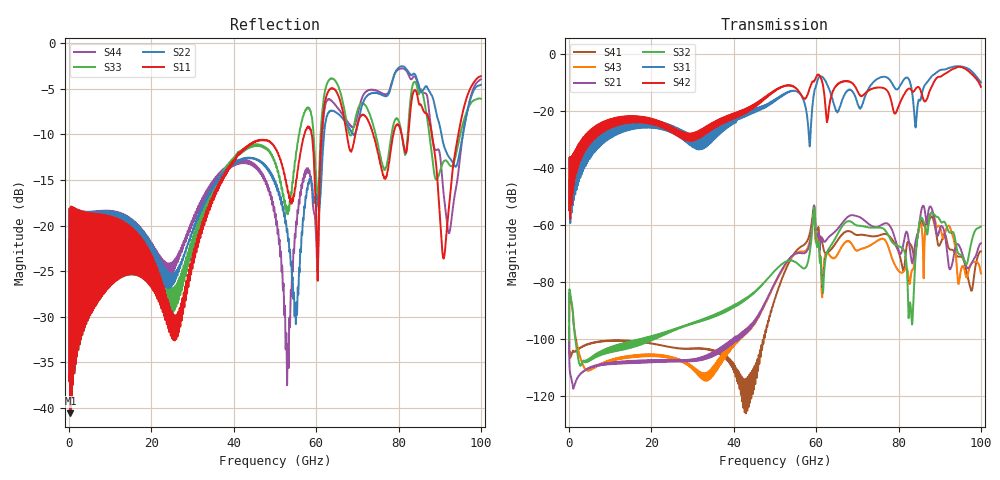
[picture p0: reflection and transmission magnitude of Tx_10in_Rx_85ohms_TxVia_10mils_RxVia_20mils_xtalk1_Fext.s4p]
! Info: Touchstone file created by Circ.  Input file=Tx_10in_Rx_85ohms_TxVia_10mils_RxVia_20mils.circ
# Hz S RI R 50
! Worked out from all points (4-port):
!   10000 points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, 10 MHz to 100 GHz, reference 50 ohm
!   strongest paths, dB at 10 MHz, 25.01 GHz, 50.01 GHz, 75.01 GHz, 100 GHz:
!     S42: -54.7, -27.5, -12.7, -11.7, -11.5
!     S31: -54.7, -27.6, -16.0, -8.5, -9.9
!     S32: -100.4, -96.6, -75.9, -60.8, -60.5
!     S21: -96.5, -107.3, -80.0, -60.5, -66.3
!     S43: -93.6, -106.2, -80.4, -65.2, -76.9
!     S41: -95.7, -102.9, -85.7, -63.6, -69.1
!   lowest |S11| = -40.6 dB at 320 MHz (marker M1), VSWR 1.02, Z = 49.3 - j0.609 ohm
!   |S11| at or under -10 dB: start of sweep to 57.09 GHz; 73.87 GHz to 78.75 GHz (4.884 GHz wide, 6.4 % of centre); 88.09 GHz to 94.52 GHz (6.436 GHz wide, 7.05 % of centre) (the widest 3 of 6)
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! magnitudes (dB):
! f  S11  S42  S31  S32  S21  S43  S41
! 10 MHz  -37.0  -54.7  -54.7  -100.4  -96.5  -93.6  -95.7
! 320 MHz  -40.6  -46.2  -46.2  -84.4  -112.4  -85.3  -106.3
! 50.95 GHz  -12.4  -11.8  -15.0  -74.5  -77.4  -77.8  -81.6
! 59.43 GHz  -12.7  -9.6  -14.2  -54.4  -53.5  -54.3  -53.2
! 83.3 GHz  -5.9  -13.0  -13.5  -94.8  -73.3  -75.7  -67.9
! 88.09 GHz  -10.0  -11.3  -7.7  -55.6  -54.2  -55.5  -56.9
! 100 GHz  -3.6  -11.5  -9.9  -60.5  -66.3  -76.9  -69.1
